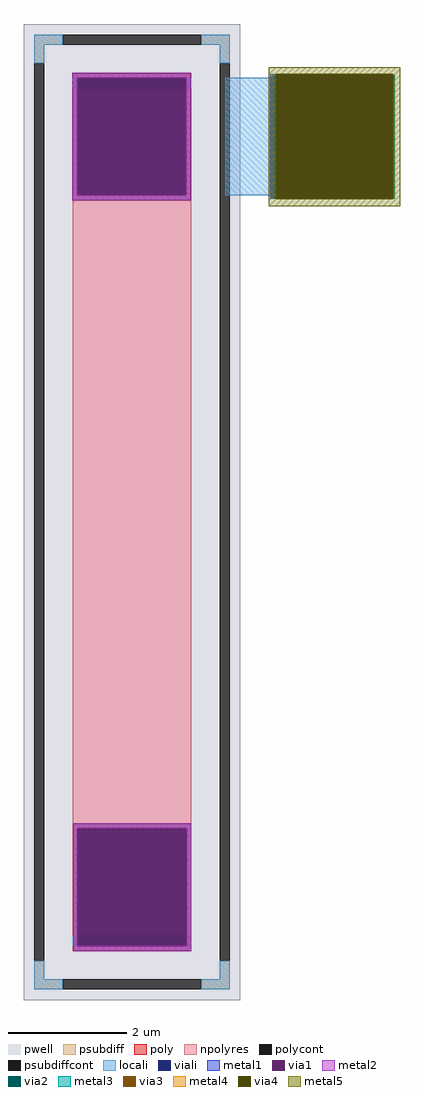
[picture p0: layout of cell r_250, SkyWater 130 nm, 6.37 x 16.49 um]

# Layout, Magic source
magic
tech sky130A
magscale 1 2
<< locali >>
rect 628 2666 787 3063
<< viali >>
rect 787 2666 1184 3063
<< metal1 >>
rect 112 3063 512 3080
rect 112 2666 129 3063
rect 497 2666 512 3063
rect 112 2650 512 2666
rect 781 3069 1190 3075
rect 781 3063 793 3069
rect 781 2666 787 3063
rect 781 2660 793 2666
rect 1190 2660 1196 3069
rect 781 2654 1190 2660
rect 114 528 514 544
rect 114 130 128 528
rect 498 130 514 528
rect 114 112 514 130
<< via1 >>
rect 129 2666 497 3063
rect 793 3063 1190 3069
rect 793 2666 1184 3063
rect 1184 2666 1190 3063
rect 793 2660 1190 2666
rect 128 130 498 528
<< metal2 >>
rect 112 3063 512 3080
rect 793 3069 1190 3075
rect 112 2666 129 3063
rect 497 2666 512 3063
rect 112 2650 512 2666
rect 784 2660 793 3069
rect 1190 2660 1199 3069
rect 793 2654 1190 2660
rect 114 528 514 544
rect 114 130 128 528
rect 498 130 514 528
rect 114 112 514 130
<< via2 >>
rect 793 2660 1190 3069
<< metal3 >>
rect 788 3069 798 3074
rect 788 2660 793 3069
rect 788 2655 798 2660
rect 1195 2655 1201 3074
<< via3 >>
rect 798 3069 1195 3074
rect 798 2660 1190 3069
rect 1190 2660 1195 3069
rect 798 2655 1195 2660
<< metal4 >>
rect 797 3074 799 3075
rect 797 2655 798 3074
rect 797 2654 799 2655
<< via4 >>
rect 799 3074 1196 3075
rect 799 2655 1195 3074
rect 1195 2655 1196 3074
rect 799 2654 1196 2655
<< metal5 >>
rect 775 3075 1220 3099
rect 775 2654 799 3075
rect 1196 2654 1220 3075
rect 775 2630 1220 2654
use sky130_fd_pr__res_generic_po_PL36XQ  sky130_fd_pr__res_generic_po_PL36XQ_0
transform 1 0 313 0 1 1596
box -366 -1649 366 1649
<< end >>

# cell sky130_fd_pr__res_generic_po_PL36XQ: kit device sky130_fd_pr__res_generic_po, w 2 l 10.53 m 1 nx 1 wmin 0.330 lmin 1.650 rho 48.2 val 253.773 dummy 0 dw 0.0 term 0.0 sterm 0.0 caplen 0.4 snake 0 guard 1 glc 1 grc 1 gtc 1 gbc 1 roverlap 0 endcov 100 full_metal 1 hv_guard 0 n_guard 0 vias 1 viagb 0 viagt 0 viagl 0 viagr 0
